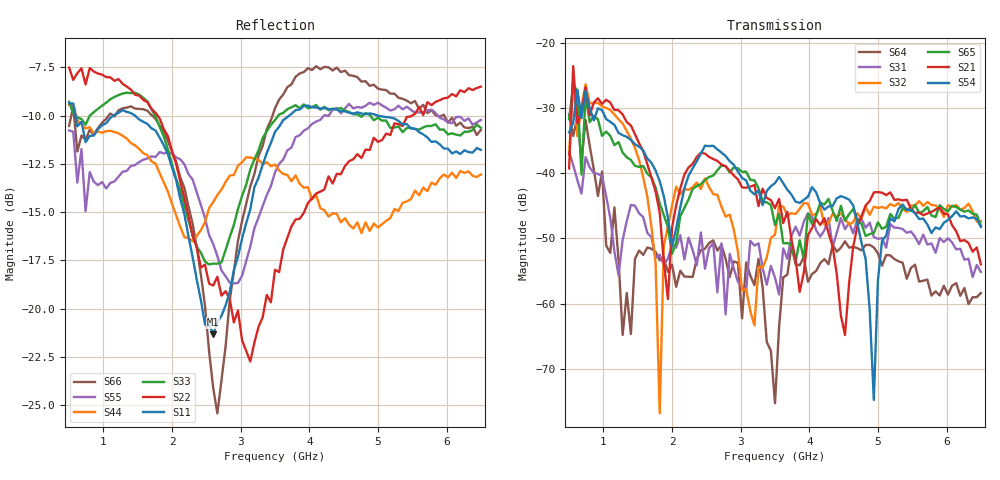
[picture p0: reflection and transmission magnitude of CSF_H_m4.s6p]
!Keysight Technologies,M9804A,MY58100912,A.14.10.03
!Date: Thursday, April 27, 2023 10:28:33
!Correction: S11(C  6-Port  )
!S12(C  6-Port  )
!S13(C  6-Port  )
!S14(C  6-Port  )
!S15(C  6-Port  )
!S16(C  6-Port  )
!S21(C  6-Port  )
!S22(C  6-Port  )
!S23(C  6-Port  )
!S24(C  6-Port  )
!S25(C  6-Port  )
!S26(C  6-Port  )
!S31(C  6-Port  )
!S32(C  6-Port  )
!S33(C  6-Port  )
!S34(C  6-Port  )
!S35(C  6-Port  )
!S36(C  6-Port  )
!S41(C  6-Port  )
!S42(C  6-Port  )
!S43(C  6-Port  )
!S44(C  6-Port  )
!S45(C  6-Port  )
!S46(C  6-Port  )
!S51(C  6-Port  )
!S52(C  6-Port  )
!S53(C  6-Port  )
!S54(C  6-Port  )
!S55(C  6-Port  )
!S56(C  6-Port  )
!S61(C  6-Port  )
!S62(C  6-Port  )
!S63(C  6-Port  )
!S64(C  6-Port  )
!S65(C  6-Port  )
!S66(C  6-Port  )
!S6P File: Measurement: :
# Hz S  RI  R 50
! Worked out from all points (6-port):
!   101 points, 500 MHz to 6.5 GHz, reference 50 ohm
!   strongest paths, dB at 500 MHz, 2 GHz, 3.5 GHz, 5 GHz, 6.5 GHz:
!     S54: -33.7, -51.2, -41.5, -56.4, -48.2
!     S21: -39.3, -48.3, -45.4, -42.9, -54.0
!     S65: -31.7, -52.3, -47.9, -47.5, -48.0
!     S32: -37.2, -45.0, -49.4, -45.3, -47.3
!     S31: -36.7, -51.0, -56.0, -50.1, -55.1
!     S64: -31.0, -54.0, -75.3, -52.3, -58.4
!   lowest |S11| = -21.3 dB at 2.6 GHz (marker M1), VSWR 1.19, Z = 42.4 + j2.3 ohm
!   |S11| at or under -10 dB: 591.8 MHz to 1.146 GHz (553.8 MHz wide, 63.7 % of centre); 1.46 GHz to 3.707 GHz (2.247 GHz wide, 87 % of centre); 4.994 GHz to end of sweep
